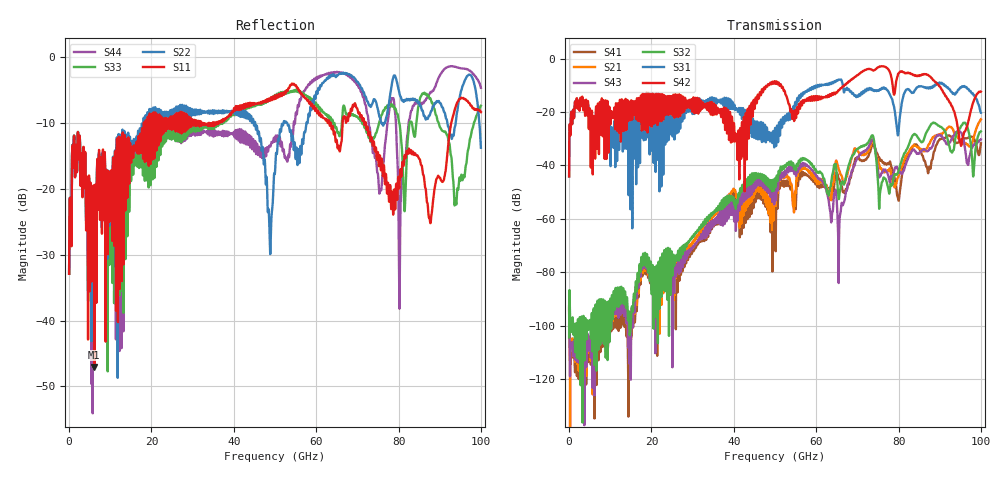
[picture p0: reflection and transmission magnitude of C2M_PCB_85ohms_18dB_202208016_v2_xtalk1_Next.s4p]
! Info: Touchstone file created by Circ.  Input file=Intel_C2M_200G_6p0in_202208016_staggered.circ
# Hz S RI R 50
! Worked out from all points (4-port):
!   10000 points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, 10 MHz to 100 GHz, reference 50 ohm
!   strongest paths, dB at 10 MHz, 25.01 GHz, 50.01 GHz, 75.01 GHz, 100 GHz:
!     S42: -44.1, -16.4, -8.9, -3.2, -12.3
!     S31: -44.2, -19.4, -26.2, -11.9, -20.2
!     S32: -104.4, -75.6, -45.0, -46.1, -27.3
!     S43: -93.9, -77.6, -48.0, -41.6, -30.2
!     S21: -93.5, -80.4, -50.6, -38.4, -22.7
!     S41: -92.8, -78.8, -55.7, -36.4, -31.7
!   lowest |S11| = -47.1 dB at 6.13 GHz (marker M1), VSWR 1.01, Z = 49.6 - j0.19 ohm
!   |S11| at or under -10 dB: start of sweep to 18.16 GHz; 63.56 GHz to 66.42 GHz (2.86 GHz wide, 4.4 % of centre); 72.04 GHz to 92.81 GHz (20.77 GHz wide, 25.2 % of centre)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
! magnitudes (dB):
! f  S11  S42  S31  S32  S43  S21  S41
! 10 MHz  -32.9  -44.1  -44.2  -104.4  -93.9  -93.5  -92.8
! 6.13 GHz  -47.1  -22.7  -25.4  -101.1  -105.0  -108.2  -111.9
! 65.59 GHz  -13.9  -11.8  -7.9  -51.8  -64.2  -41.8  -45.2
! 73.46 GHz  -12.2  -4.1  -11.3  -28.8  -30.3  -31.6  -32.9
! 76.03 GHz  -15.8  -2.9  -11.1  -46.2  -42.8  -41.9  -38.7
! 95.2 GHz  -6.2  -32.7  -10.9  -25.2  -27.7  -31.3  -30.2
! 100 GHz  -8.4  -12.3  -20.2  -27.3  -30.2  -22.7  -31.7
